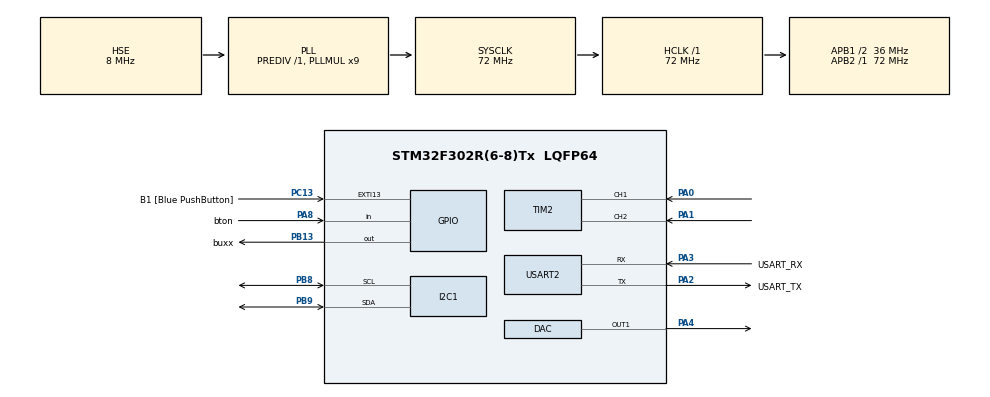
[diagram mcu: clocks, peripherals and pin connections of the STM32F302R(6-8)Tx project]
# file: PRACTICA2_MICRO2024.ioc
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DAC.DAC_Trigger=DAC_TRIGGER_T6_TRGO
Dma.DAC_CH1.0.Direction=DMA_MEMORY_TO_PERIPH
Dma.DAC_CH1.0.Instance=DMA1_Channel3
Dma.DAC_CH1.0.MemDataAlignment=DMA_MDATAALIGN_WORD
Dma.DAC_CH1.0.MemInc=DMA_MINC_ENABLE
Dma.DAC_CH1.0.Mode=DMA_CIRCULAR
Dma.DAC_CH1.0.PeriphDataAlignment=DMA_PDATAALIGN_WORD
Dma.DAC_CH1.0.PeriphInc=DMA_PINC_DISABLE
Dma.DAC_CH1.0.Priority=DMA_PRIORITY_LOW
Dma.Request0=DAC_CH1
Mcu.Family=STM32F3
Mcu.Name=STM32F302R(6-8)Tx
Mcu.Package=LQFP64
NVIC.DMA1_Channel3_IRQn=true\:0\:0\:false\:false\:true\:false\:true\:true
NVIC.PriorityGroup=NVIC_PRIORITYGROUP_0
NVIC.TIM2_IRQn=true\:0\:0\:false\:false\:true\:true\:true\:true
PA0.Signal=S_TIM2_CH1_ETR
PA1.Signal=S_TIM2_CH2
PA13.GPIO_Label=TMS
PA13.Mode=Serial_Wire
PA13.Signal=SYS_JTMS-SWDIO
PA14.GPIO_Label=TCK
PA14.Mode=Serial_Wire
PA14.Signal=SYS_JTCK-SWCLK
PA2.GPIO_Label=USART_TX
PA2.GPIO_Mode=GPIO_MODE_AF_PP
PA2.GPIO_PuPd=GPIO_NOPULL
PA2.GPIO_Speed=GPIO_SPEED_FREQ_LOW
PA2.Mode=Asynchronous
PA2.Signal=USART2_TX
PA3.GPIO_Label=USART_RX
PA3.GPIO_Mode=GPIO_MODE_AF_PP
PA3.GPIO_PuPd=GPIO_NOPULL
PA3.GPIO_Speed=GPIO_SPEED_FREQ_LOW
PA3.Mode=Asynchronous
PA3.Signal=USART2_RX
PA4.Signal=COMP_DAC1_group
PA8.GPIO_Label=bton
PA8.GPIO_PuPd=GPIO_PULLUP
PA8.Signal=GPIO_Input
PB13.GPIO_Label=buxx
PB13.Signal=GPIO_Output
PB3.GPIO_Label=SWO
PB3.Mode=Trace_Asynchronous_SW
PB3.Signal=SYS_JTDO-TRACESWO
PB8.Mode=I2C
PB8.Signal=I2C1_SCL
PB9.Mode=I2C
PB9.Signal=I2C1_SDA
PC13.GPIO_Label=B1 [Blue PushButton]
PC13.GPIO_ModeDefaultEXTI=GPIO_MODE_IT_FALLING
PC13.Signal=GPXTI13
PC14\ -\ OSC32_IN.Signal=RCC_OSC32_IN
PC15\ -\ OSC32_OUT.Signal=RCC_OSC32_OUT
PF0-OSC_IN.Mode=HSE-External-Oscillator
PF0-OSC_IN.Signal=RCC_OSC_IN
PF1-OSC_OUT.Mode=HSE-External-Oscillator
PF1-OSC_OUT.Signal=RCC_OSC_OUT
ProjectManager.HeapSize=0x200
ProjectManager.StackSize=0x400
ProjectManager.TargetToolchain=STM32CubeIDE
RCC.AHBFreq_Value=72000000
RCC.APB1CLKDivider=RCC_HCLK_DIV2
RCC.APB1Freq_Value=36000000
RCC.APB1TimFreq_Value=72000000
RCC.APB2Freq_Value=72000000
RCC.APB2TimFreq_Value=72000000
RCC.CortexFreq_Value=72000000
RCC.HCLKFreq_Value=72000000
RCC.HSE_VALUE=8000000
RCC.HSI_VALUE=8000000
RCC.PLLM=8
RCC.PLLMUL=RCC_PLL_MUL9
RCC.PLLN=336
RCC.PLLP=RCC_PLLP_DIV4
RCC.PLLQ=7
RCC.PLLSourceVirtual=RCC_PLLSOURCE_HSE
RCC.SYSCLKFreq_VALUE=72000000
RCC.SYSCLKSourceVirtual=RCC_SYSCLKSOURCE_PLLCLK
RCC.USBFreq_Value=72000000
SH.COMP_DAC1_group.0=DAC_OUT1,DAC_OUT1
SH.S_TIM2_CH1_ETR.0=TIM2_CH1,Encoder_Interface
SH.S_TIM2_CH2.0=TIM2_CH2,Encoder_Interface
TIM2.EncoderMode=TIM_ENCODERMODE_TI12
TIM2.IC1Polarity=TIM_ICPOLARITY_FALLING
TIM2.IC2Polarity=TIM_ICPOLARITY_FALLING
TIM6.Period=100
TIM6.Prescaler=72-1
TIM6.TIM_MasterOutputTrigger=TIM_TRGO_UPDATE
USART2.VirtualMode-Asynchronous=VM_ASYNC
VP_TIM6_VS_ClockSourceINT.Mode=Enable_Timer
board=NUCLEO-F302R8

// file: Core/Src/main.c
/* USER CODE BEGIN Header */
/**
  ******************************************************************************
  * @file           : main.c
  * @brief          : Main program body
  ******************************************************************************
  * @attention
  *
  * Copyright (c) 2024 STMicroelectronics.
  * All rights reserved.
  *
  * This software is licensed under terms that can be found in the LICENSE file
  * in the root directory of this software component.
  * If no LICENSE file comes with this software, it is provided AS-IS.
  *
  ******************************************************************************
  */
/* USER CODE END Header */
#include "main.h"

/* USER CODE BEGIN Includes */
#include "lcdjorge.h"
#include "math.h"
#include"string.h"
#include"stdio.h"
/* USER CODE END Includes */

DAC_HandleTypeDef hdac;
DMA_HandleTypeDef hdma_dac_ch1;

I2C_HandleTypeDef hi2c1;

TIM_HandleTypeDef htim2;
TIM_HandleTypeDef htim6;

UART_HandleTypeDef huart2;

/* USER CODE BEGIN PV */
uint32_t counter = 0;
int16_t count = 0;
int16_t position = 0;
int Estado=0;
int menu1=0;
int submenu1=0;
int submenu2=0;
int submenu3=0;
int submenu4=0;
int tiempo = 1000;
float amplitud;
float freq_div = 0.2f;
uint32_t onda_seno[100];
uint32_t onda_sierra[100];
#define PI 3.1415926 // constante
/* USER CODE END PV */

void SystemClock_Config(void);
static void MX_GPIO_Init(void);
static void MX_DMA_Init(void);
static void MX_USART2_UART_Init(void);
static void MX_I2C1_Init(void);
static void MX_TIM2_Init(void);
static void MX_DAC_Init(void);
static void MX_TIM6_Init(void);

/* USER CODE BEGIN 0 */

void ondaseno()
{

	for (int x = 0; x < 100; x++)
	    {
	        onda_seno[x] = ((sin(x * 2 * PI / 100) + 1) * (amplitud * 4096 / 2));
	    }

}
void ondasierra()
{

	for (int y = 0; y < 100; y++)
	    {
	        onda_sierra[y] = (y * (amplitud*4096 / 100)); // calculo onda sierra
	    }

}
void buzzer(void){
HAL_GPIO_WritePin(buxx_GPIO_Port, buxx_Pin, 1);
HAL_Delay(10);
HAL_GPIO_WritePin(buxx_GPIO_Port, buxx_Pin, 0);
}

void enviar(uint32_t valor){

	 char buffer[20];
	    sprintf(buffer, "%lu\r\n", valor);

	    HAL_UART_Transmit(&huart2, (uint8_t*)buffer, strlen(buffer), HAL_MAX_DELAY);
}

void HAL_TIM_IC_CaptureCallback(TIM_HandleTypeDef *htim)
{
    counter = __HAL_TIM_GET_COUNTER(htim);
    count = (int16_t)counter;
    position = count / 4;

}

void lectura_boton(void){
	if(!HAL_GPIO_ReadPin(bton_GPIO_Port, bton_Pin)){
					menu1++;
					buzzer();
					HAL_Delay(600);
				}
}

void menu_senoidal(void){
	 lcd_enviar("   Sell Onda   ", 0, 0);
			  lcd_enviar("1.Senoidal    <<", 1, 0);
			lectura_boton();

}

void menu_sierra(void){
	lcd_enviar("   Sell Onda   ", 0, 0);
	lcd_enviar("2.Sierra    <<", 1, 0);
	lectura_boton();
}

void menu_cuadrada(void){
	lcd_enviar("   Sell Onda   ", 0, 0);
	lcd_enviar("3.Cuadrada    <<", 1, 0);
	lectura_boton();
}

void menu_triangular(void){
	lectura_boton();
	 lcd_enviar("   Sell Onda   ", 0, 0);
	 lcd_enviar("4.Triangular   <<", 1, 0);

}

void subMenu1(void){
	 lcd_enviar("  Sell amplitud", 0, 0);
	 lcd_enviar("Amplitud (+,-)", 1, 0);
	 HAL_DAC_Stop_DMA(&hdac, DAC_CHANNEL_1);
	 HAL_DAC_Start_DMA(&hdac, DAC_CHANNEL_1,onda_seno,100, DAC_ALIGN_12B_R);

	 for(int i=0; i<100; i++){

	 			   DAC->DHR12R1 = onda_seno[i];
	 			   HAL_Delay(8);
	 			   enviar(onda_seno[i]);
	 		   }

	 if(!HAL_GPIO_ReadPin(bton_GPIO_Port, bton_Pin)){
		       submenu1++;
		       buzzer();
	 					HAL_Delay(600);
	 }
	 if(submenu1 == 2){
		 menu_senoidal();
		 submenu1 =0;
		 menu1=0;
	 }
	 lectura_boton();
}
void subMenu2(void){
	 lcd_enviar("  Sell amplitud", 0, 0);
	 lcd_enviar("Amplitud (+,-)", 1, 0);
	 HAL_DAC_Stop_DMA(&hdac, DAC_CHANNEL_1);
	 	 HAL_DAC_Start_DMA(&hdac, DAC_CHANNEL_1,onda_sierra,100, DAC_ALIGN_12B_R);

	 	 for(int i=0; i<100; i++){

	 	 			   DAC->DHR12R1 = onda_sierra[i];
	 	 			   HAL_Delay(8);
	 	 			   enviar(onda_sierra[i]);
	 	 		   }

	 if(!HAL_GPIO_ReadPin(bton_GPIO_Port, bton_Pin)){
			       submenu2++;
			       buzzer();
		 			HAL_Delay(600);
		 }
		 if(submenu2 == 2){
			 menu_sierra();
			 submenu2 =0;
			 menu1=0;
		 }
		 lectura_boton();
}
void subMenu3(void){
	 lcd_enviar("  Sell amplitud", 0, 0);
	 lcd_enviar("Amplitud (+,-)", 1, 0);
	 if(!HAL_GPIO_ReadPin(bton_GPIO_Port, bton_Pin)){
				       submenu3++;
				       buzzer();
			 			HAL_Delay(600);
			 }
			 if(submenu3 == 2){
				 menu_cuadrada();
				 submenu3 =0;
				 menu1=0;
			 }
}
void subMenu4(void){
	 lcd_enviar("  Sell amplitud", 0, 0);
	 lcd_enviar("Amplitud (+,-)", 1, 0);
	 if(!HAL_GPIO_ReadPin(bton_GPIO_Port, bton_Pin)){
	 				       submenu4++;
	 				       buzzer();
	 			 			HAL_Delay(600);
	 			 }
	 			 if(submenu4 == 2){
	 				 menu_triangular();
	 				 submenu4 =0;
	 				 menu1=0;
	 			 }
}
/* USER CODE END 0 */

int main(void)
{

  /* MCU Configuration--------------------------------------------------------*/

  /* Reset of all peripherals, Initializes the Flash interface and the Systick. */
  HAL_Init();

  /* Configure the system clock */
  SystemClock_Config();

  /* Initialize all configured peripherals */
  MX_GPIO_Init();
  MX_DMA_Init();
  MX_USART2_UART_Init();
  MX_I2C1_Init();
  MX_TIM2_Init();
  MX_DAC_Init();
  MX_TIM6_Init();
  /* USER CODE BEGIN 2 */

    lcd_init();

    HAL_TIM_Encoder_Start_IT(&htim2, TIM_CHANNEL_ALL);
    HAL_TIM_Base_Start(&htim6);
  /* USER CODE END 2 */

  /* Infinite loop */
  /* USER CODE BEGIN WHILE */
  while (1)
  {
	  switch(position)
	  {

	  case 0:
		 menu_senoidal();
	  break;
	  case 1:
		  menu_sierra();
	  break;
	  case 2:
	 	  menu_cuadrada();
	  break;
	  case 3:
	 	  menu_triangular();
	  break;

	  }
	  amplitud = (float)position * 0.01f;
	  ondaseno();
	     ondasierra();
	  switch (menu1)
	  {
	  case 1:
		 subMenu1();
	  break;
	  case 2:
	  	 subMenu2();
	  break;
	  case 3:
	  	 subMenu3();
	  break;
	  case 4:
	  	 subMenu4();
	  break;

	  }

    /* USER CODE END WHILE */
  }
}

void SystemClock_Config(void)
{
  RCC_OscInitTypeDef RCC_OscInitStruct = {0};
  RCC_ClkInitTypeDef RCC_ClkInitStruct = {0};
  RCC_PeriphCLKInitTypeDef PeriphClkInit = {0};

  /** Initializes the RCC Oscillators according to the specified parameters
  * in the RCC_OscInitTypeDef structure.
  */
  RCC_OscInitStruct.OscillatorType = RCC_OSCILLATORTYPE_HSI|RCC_OSCILLATORTYPE_HSE;
  RCC_OscInitStruct.HSEState = RCC_HSE_ON;
  RCC_OscInitStruct.HSEPredivValue = RCC_HSE_PREDIV_DIV1;
  RCC_OscInitStruct.HSIState = RCC_HSI_ON;
  RCC_OscInitStruct.HSICalibrationValue = RCC_HSICALIBRATION_DEFAULT;
  RCC_OscInitStruct.PLL.PLLState = RCC_PLL_ON;
  RCC_OscInitStruct.PLL.PLLSource = RCC_PLLSOURCE_HSE;
  RCC_OscInitStruct.PLL.PLLMUL = RCC_PLL_MUL9;
  if (HAL_RCC_OscConfig(&RCC_OscInitStruct) != HAL_OK)
  {
    Error_Handler();
  }

  /** Initializes the CPU, AHB and APB buses clocks
  */
  RCC_ClkInitStruct.ClockType = RCC_CLOCKTYPE_HCLK|RCC_CLOCKTYPE_SYSCLK
                              |RCC_CLOCKTYPE_PCLK1|RCC_CLOCKTYPE_PCLK2;
  RCC_ClkInitStruct.SYSCLKSource = RCC_SYSCLKSOURCE_PLLCLK;
  RCC_ClkInitStruct.AHBCLKDivider = RCC_SYSCLK_DIV1;
  RCC_ClkInitStruct.APB1CLKDivider = RCC_HCLK_DIV2;
  RCC_ClkInitStruct.APB2CLKDivider = RCC_HCLK_DIV1;

  if (HAL_RCC_ClockConfig(&RCC_ClkInitStruct, FLASH_LATENCY_2) != HAL_OK)
  {
    Error_Handler();
  }
  PeriphClkInit.PeriphClockSelection = RCC_PERIPHCLK_I2C1;
  PeriphClkInit.I2c1ClockSelection = RCC_I2C1CLKSOURCE_HSI;
  if (HAL_RCCEx_PeriphCLKConfig(&PeriphClkInit) != HAL_OK)
  {
    Error_Handler();
  }
}

static void MX_DAC_Init(void)
{

  DAC_ChannelConfTypeDef sConfig = {0};

  /** DAC Initialization
  */
  hdac.Instance = DAC;
  if (HAL_DAC_Init(&hdac) != HAL_OK)
  {
    Error_Handler();
  }

  /** DAC channel OUT1 config
  */
  sConfig.DAC_Trigger = DAC_TRIGGER_T6_TRGO;
  sConfig.DAC_OutputBuffer = DAC_OUTPUTBUFFER_ENABLE;
  if (HAL_DAC_ConfigChannel(&hdac, &sConfig, DAC_CHANNEL_1) != HAL_OK)
  {
    Error_Handler();
  }

}

static void MX_I2C1_Init(void)
{

  hi2c1.Instance = I2C1;
  hi2c1.Init.Timing = 0x2000090E;
  hi2c1.Init.OwnAddress1 = 0;
  hi2c1.Init.AddressingMode = I2C_ADDRESSINGMODE_7BIT;
  hi2c1.Init.DualAddressMode = I2C_DUALADDRESS_DISABLE;
  hi2c1.Init.OwnAddress2 = 0;
  hi2c1.Init.OwnAddress2Masks = I2C_OA2_NOMASK;
  hi2c1.Init.GeneralCallMode = I2C_GENERALCALL_DISABLE;
  hi2c1.Init.NoStretchMode = I2C_NOSTRETCH_DISABLE;
  if (HAL_I2C_Init(&hi2c1) != HAL_OK)
  {
    Error_Handler();
  }

  /** Configure Analogue filter
  */
  if (HAL_I2CEx_ConfigAnalogFilter(&hi2c1, I2C_ANALOGFILTER_ENABLE) != HAL_OK)
  {
    Error_Handler();
  }

  /** Configure Digital filter
  */
  if (HAL_I2CEx_ConfigDigitalFilter(&hi2c1, 0) != HAL_OK)
  {
    Error_Handler();
  }

}

static void MX_TIM2_Init(void)
{

  TIM_Encoder_InitTypeDef sConfig = {0};
  TIM_MasterConfigTypeDef sMasterConfig = {0};

  htim2.Instance = TIM2;
  htim2.Init.Prescaler = 0;
  htim2.Init.CounterMode = TIM_COUNTERMODE_UP;
  htim2.Init.Period = 4294967295;
  htim2.Init.ClockDivision = TIM_CLOCKDIVISION_DIV1;
  htim2.Init.AutoReloadPreload = TIM_AUTORELOAD_PRELOAD_DISABLE;
  sConfig.EncoderMode = TIM_ENCODERMODE_TI12;
  sConfig.IC1Polarity = TIM_ICPOLARITY_FALLING;
  sConfig.IC1Selection = TIM_ICSELECTION_DIRECTTI;
  sConfig.IC1Prescaler = TIM_ICPSC_DIV1;
  sConfig.IC1Filter = 0;
  sConfig.IC2Polarity = TIM_ICPOLARITY_FALLING;
  sConfig.IC2Selection = TIM_ICSELECTION_DIRECTTI;
  sConfig.IC2Prescaler = TIM_ICPSC_DIV1;
  sConfig.IC2Filter = 0;
  if (HAL_TIM_Encoder_Init(&htim2, &sConfig) != HAL_OK)
  {
    Error_Handler();
  }
  sMasterConfig.MasterOutputTrigger = TIM_TRGO_RESET;
  sMasterConfig.MasterSlaveMode = TIM_MASTERSLAVEMODE_DISABLE;
  if (HAL_TIMEx_MasterConfigSynchronization(&htim2, &sMasterConfig) != HAL_OK)
  {
    Error_Handler();
  }

}

static void MX_TIM6_Init(void)
{

  TIM_MasterConfigTypeDef sMasterConfig = {0};

  htim6.Instance = TIM6;
  htim6.Init.Prescaler = 72-1;
  htim6.Init.CounterMode = TIM_COUNTERMODE_UP;
  htim6.Init.Period = 100;
  htim6.Init.AutoReloadPreload = TIM_AUTORELOAD_PRELOAD_DISABLE;
  if (HAL_TIM_Base_Init(&htim6) != HAL_OK)
  {
    Error_Handler();
  }
  sMasterConfig.MasterOutputTrigger = TIM_TRGO_UPDATE;
  sMasterConfig.MasterSlaveMode = TIM_MASTERSLAVEMODE_DISABLE;
  if (HAL_TIMEx_MasterConfigSynchronization(&htim6, &sMasterConfig) != HAL_OK)
  {
    Error_Handler();
  }

}

static void MX_USART2_UART_Init(void)
{

  huart2.Instance = USART2;
  huart2.Init.BaudRate = 38400;
  huart2.Init.WordLength = UART_WORDLENGTH_8B;
  huart2.Init.StopBits = UART_STOPBITS_1;
  huart2.Init.Parity = UART_PARITY_NONE;
  huart2.Init.Mode = UART_MODE_TX_RX;
  huart2.Init.HwFlowCtl = UART_HWCONTROL_NONE;
  huart2.Init.OverSampling = UART_OVERSAMPLING_16;
  huart2.Init.OneBitSampling = UART_ONE_BIT_SAMPLE_DISABLE;
  huart2.AdvancedInit.AdvFeatureInit = UART_ADVFEATURE_NO_INIT;
  if (HAL_UART_Init(&huart2) != HAL_OK)
  {
    Error_Handler();
  }

}

static void MX_DMA_Init(void)
{

  /* DMA controller clock enable */
  __HAL_RCC_DMA1_CLK_ENABLE();

  /* DMA interrupt init */
  /* DMA1_Channel3_IRQn interrupt configuration */
  HAL_NVIC_SetPriority(DMA1_Channel3_IRQn, 0, 0);
  HAL_NVIC_EnableIRQ(DMA1_Channel3_IRQn);

}

static void MX_GPIO_Init(void)
{
  GPIO_InitTypeDef GPIO_InitStruct = {0};

  /* GPIO Ports Clock Enable */
  __HAL_RCC_GPIOC_CLK_ENABLE();
  __HAL_RCC_GPIOF_CLK_ENABLE();
  __HAL_RCC_GPIOA_CLK_ENABLE();
  __HAL_RCC_GPIOB_CLK_ENABLE();

  /*Configure GPIO pin Output Level */
  HAL_GPIO_WritePin(buxx_GPIO_Port, buxx_Pin, GPIO_PIN_RESET);

  /*Configure GPIO pin : B1_Pin */
  GPIO_InitStruct.Pin = B1_Pin;
  GPIO_InitStruct.Mode = GPIO_MODE_IT_FALLING;
  GPIO_InitStruct.Pull = GPIO_NOPULL;
  HAL_GPIO_Init(B1_GPIO_Port, &GPIO_InitStruct);

  /*Configure GPIO pin : buxx_Pin */
  GPIO_InitStruct.Pin = buxx_Pin;
  GPIO_InitStruct.Mode = GPIO_MODE_OUTPUT_PP;
  GPIO_InitStruct.Pull = GPIO_NOPULL;
  GPIO_InitStruct.Speed = GPIO_SPEED_FREQ_LOW;
  HAL_GPIO_Init(buxx_GPIO_Port, &GPIO_InitStruct);

  /*Configure GPIO pin : bton_Pin */
  GPIO_InitStruct.Pin = bton_Pin;
  GPIO_InitStruct.Mode = GPIO_MODE_INPUT;
  GPIO_InitStruct.Pull = GPIO_PULLUP;
  HAL_GPIO_Init(bton_GPIO_Port, &GPIO_InitStruct);

}

void Error_Handler(void)
{
  __disable_irq();
  while (1)
  {
  }
}
